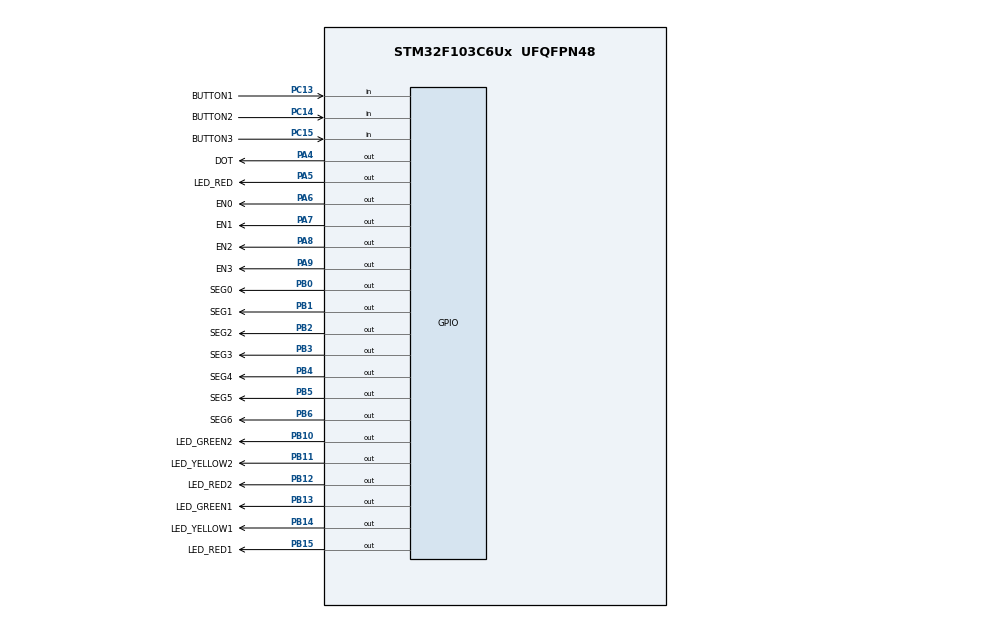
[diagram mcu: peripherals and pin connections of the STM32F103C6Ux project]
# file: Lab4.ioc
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Mcu.Family=STM32F1
Mcu.Name=STM32F103C6Ux
Mcu.Package=UFQFPN48
NVIC.PriorityGroup=NVIC_PRIORITYGROUP_4
NVIC.TIM2_IRQn=true\:0\:0\:false\:false\:true\:true\:true
PA4.GPIO_Label=DOT
PA4.Signal=GPIO_Output
PA5.GPIO_Label=LED_RED
PA5.Signal=GPIO_Output
PA6.GPIO_Label=EN0
PA6.Signal=GPIO_Output
PA7.GPIO_Label=EN1
PA7.Signal=GPIO_Output
PA8.GPIO_Label=EN2
PA8.Signal=GPIO_Output
PA9.GPIO_Label=EN3
PA9.Signal=GPIO_Output
PB0.GPIO_Label=SEG0
PB0.Signal=GPIO_Output
PB1.GPIO_Label=SEG1
PB1.Signal=GPIO_Output
PB10.GPIO_Label=LED_GREEN2
PB10.Signal=GPIO_Output
PB11.GPIO_Label=LED_YELLOW2
PB11.Signal=GPIO_Output
PB12.GPIO_Label=LED_RED2
PB12.Signal=GPIO_Output
PB13.GPIO_Label=LED_GREEN1
PB13.Signal=GPIO_Output
PB14.GPIO_Label=LED_YELLOW1
PB14.Signal=GPIO_Output
PB15.GPIO_Label=LED_RED1
PB15.Signal=GPIO_Output
PB2.GPIO_Label=SEG2
PB2.Signal=GPIO_Output
PB3.GPIO_Label=SEG3
PB3.Signal=GPIO_Output
PB4.GPIO_Label=SEG4
PB4.Signal=GPIO_Output
PB5.GPIO_Label=SEG5
PB5.Signal=GPIO_Output
PB6.GPIO_Label=SEG6
PB6.Signal=GPIO_Output
PC13-TAMPER-RTC.GPIO_Label=BUTTON1
PC13-TAMPER-RTC.GPIO_PuPd=GPIO_PULLUP
PC13-TAMPER-RTC.Signal=GPIO_Input
PC14-OSC32_IN.GPIO_Label=BUTTON2
PC14-OSC32_IN.GPIO_PuPd=GPIO_PULLUP
PC14-OSC32_IN.Signal=GPIO_Input
PC15-OSC32_OUT.GPIO_Label=BUTTON3
PC15-OSC32_OUT.GPIO_PuPd=GPIO_PULLUP
PC15-OSC32_OUT.Signal=GPIO_Input
ProjectManager.HeapSize=0x200
ProjectManager.StackSize=0x400
ProjectManager.TargetToolchain=STM32CubeIDE
RCC.APB1Freq_Value=8000000
RCC.APB2Freq_Value=8000000
TIM2.Period=9
TIM2.Prescaler=7999
VP_SYS_VS_ND.Mode=No_Debug
VP_TIM2_VS_ClockSourceINT.Mode=Internal
board=custom

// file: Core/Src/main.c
/* USER CODE BEGIN Header */
/**
  ******************************************************************************
  * @file           : main.c
  * @brief          : Main program body
  ******************************************************************************
  * @attention
  *
  * <h2><center>&copy; Copyright (c) 2025 STMicroelectronics.
  * All rights reserved.</center></h2>
  *
  * This software component is licensed by ST under BSD 3-Clause license,
  * the "License"; You may not use this file except in compliance with the
  * License. You may obtain a copy of the License at:
  *                        opensource.org/licenses/BSD-3-Clause
  *
  ******************************************************************************
  */
/* USER CODE END Header */
#include "main.h"

TIM_HandleTypeDef htim2;

/* USER CODE BEGIN PV */
TIM_HandleTypeDef htim2;

/* USER CODE END PV */

void SystemClock_Config(void);
static void MX_GPIO_Init(void);
static void MX_TIM2_Init(void);

int main(void)
{

  /* MCU Configuration--------------------------------------------------------*/

  /* Reset of all peripherals, Initializes the Flash interface and the Systick. */
  HAL_Init();

  /* Configure the system clock */
  SystemClock_Config();

  /* Initialize all configured peripherals */
  MX_GPIO_Init();
  MX_TIM2_Init();
  /* USER CODE BEGIN 2 */
  HAL_TIM_Base_Start_IT(&htim2);
  /* USER CODE END 2 */

  /* Infinite loop */
  /* USER CODE BEGIN WHILE */
  SCH_Add_Task(timerRun,          0, 1);
  SCH_Add_Task(getKeyInput,       0, 1);
  SCH_Add_Task(fsm_automatic_run, 0, 1);
  SCH_Add_Task(fsm_manual_run,    0, 1);
  SCH_Add_Task(fsm_config_run,    0, 1);
  while (1)
  {
	  SCH_Dispatch_Tasks();
    /* USER CODE END WHILE */

  }
}

void SystemClock_Config(void)
{
  RCC_OscInitTypeDef RCC_OscInitStruct = {0};
  RCC_ClkInitTypeDef RCC_ClkInitStruct = {0};

  /** Initializes the RCC Oscillators according to the specified parameters
  * in the RCC_OscInitTypeDef structure.
  */
  RCC_OscInitStruct.OscillatorType = RCC_OSCILLATORTYPE_HSI;
  RCC_OscInitStruct.HSIState = RCC_HSI_ON;
  RCC_OscInitStruct.HSICalibrationValue = RCC_HSICALIBRATION_DEFAULT;
  RCC_OscInitStruct.PLL.PLLState = RCC_PLL_NONE;
  if (HAL_RCC_OscConfig(&RCC_OscInitStruct) != HAL_OK)
  {
    Error_Handler();
  }
  /** Initializes the CPU, AHB and APB buses clocks
  */
  RCC_ClkInitStruct.ClockType = RCC_CLOCKTYPE_HCLK|RCC_CLOCKTYPE_SYSCLK
                              |RCC_CLOCKTYPE_PCLK1|RCC_CLOCKTYPE_PCLK2;
  RCC_ClkInitStruct.SYSCLKSource = RCC_SYSCLKSOURCE_HSI;
  RCC_ClkInitStruct.AHBCLKDivider = RCC_SYSCLK_DIV1;
  RCC_ClkInitStruct.APB1CLKDivider = RCC_HCLK_DIV1;
  RCC_ClkInitStruct.APB2CLKDivider = RCC_HCLK_DIV1;

  if (HAL_RCC_ClockConfig(&RCC_ClkInitStruct, FLASH_LATENCY_0) != HAL_OK)
  {
    Error_Handler();
  }
}

static void MX_TIM2_Init(void)
{

  TIM_ClockConfigTypeDef sClockSourceConfig = {0};
  TIM_MasterConfigTypeDef sMasterConfig = {0};

  htim2.Instance = TIM2;
  htim2.Init.Prescaler = 7999;
  htim2.Init.CounterMode = TIM_COUNTERMODE_UP;
  htim2.Init.Period = 9;
  htim2.Init.ClockDivision = TIM_CLOCKDIVISION_DIV1;
  htim2.Init.AutoReloadPreload = TIM_AUTORELOAD_PRELOAD_DISABLE;
  if (HAL_TIM_Base_Init(&htim2) != HAL_OK)
  {
    Error_Handler();
  }
  sClockSourceConfig.ClockSource = TIM_CLOCKSOURCE_INTERNAL;
  if (HAL_TIM_ConfigClockSource(&htim2, &sClockSourceConfig) != HAL_OK)
  {
    Error_Handler();
  }
  sMasterConfig.MasterOutputTrigger = TIM_TRGO_RESET;
  sMasterConfig.MasterSlaveMode = TIM_MASTERSLAVEMODE_DISABLE;
  if (HAL_TIMEx_MasterConfigSynchronization(&htim2, &sMasterConfig) != HAL_OK)
  {
    Error_Handler();
  }

}

static void MX_GPIO_Init(void)
{
  GPIO_InitTypeDef GPIO_InitStruct = {0};

  /* GPIO Ports Clock Enable */
  __HAL_RCC_GPIOC_CLK_ENABLE();
  __HAL_RCC_GPIOA_CLK_ENABLE();
  __HAL_RCC_GPIOB_CLK_ENABLE();

  /*Configure GPIO pin Output Level */
  HAL_GPIO_WritePin(GPIOA, DOT_Pin|LED_RED_Pin|EN0_Pin|EN1_Pin
                          |EN2_Pin|EN3_Pin, GPIO_PIN_RESET);

  /*Configure GPIO pin Output Level */
  HAL_GPIO_WritePin(GPIOB, SEG0_Pin|SEG1_Pin|SEG2_Pin|LED_GREEN2_Pin
                          |LED_YELLOW2_Pin|LED_RED2_Pin|LED_GREEN1_Pin|LED_YELLOW1_Pin
                          |LED_RED1_Pin|SEG3_Pin|SEG4_Pin|SEG5_Pin
                          |SEG6_Pin, GPIO_PIN_RESET);

  /*Configure GPIO pins : BUTTON1_Pin BUTTON2_Pin BUTTON3_Pin */
  GPIO_InitStruct.Pin = BUTTON1_Pin|BUTTON2_Pin|BUTTON3_Pin;
  GPIO_InitStruct.Mode = GPIO_MODE_INPUT;
  GPIO_InitStruct.Pull = GPIO_PULLUP;
  HAL_GPIO_Init(GPIOC, &GPIO_InitStruct);

  /*Configure GPIO pins : DOT_Pin LED_RED_Pin EN0_Pin EN1_Pin
                           EN2_Pin EN3_Pin */
  GPIO_InitStruct.Pin = DOT_Pin|LED_RED_Pin|EN0_Pin|EN1_Pin
                          |EN2_Pin|EN3_Pin;
  GPIO_InitStruct.Mode = GPIO_MODE_OUTPUT_PP;
  GPIO_InitStruct.Pull = GPIO_NOPULL;
  GPIO_InitStruct.Speed = GPIO_SPEED_FREQ_LOW;
  HAL_GPIO_Init(GPIOA, &GPIO_InitStruct);

  /*Configure GPIO pins : SEG0_Pin SEG1_Pin SEG2_Pin LED_GREEN2_Pin
                           LED_YELLOW2_Pin LED_RED2_Pin LED_GREEN1_Pin LED_YELLOW1_Pin
                           LED_RED1_Pin SEG3_Pin SEG4_Pin SEG5_Pin
                           SEG6_Pin */
  GPIO_InitStruct.Pin = SEG0_Pin|SEG1_Pin|SEG2_Pin|LED_GREEN2_Pin
                          |LED_YELLOW2_Pin|LED_RED2_Pin|LED_GREEN1_Pin|LED_YELLOW1_Pin
                          |LED_RED1_Pin|SEG3_Pin|SEG4_Pin|SEG5_Pin
                          |SEG6_Pin;
  GPIO_InitStruct.Mode = GPIO_MODE_OUTPUT_PP;
  GPIO_InitStruct.Pull = GPIO_NOPULL;
  GPIO_InitStruct.Speed = GPIO_SPEED_FREQ_LOW;
  HAL_GPIO_Init(GPIOB, &GPIO_InitStruct);

}

/* USER CODE BEGIN 4 */
void HAL_TIM_PeriodElapsedCallback(TIM_HandleTypeDef* htim)
{
	SCH_Update();
}
void display7SEG(int num) {
    if (num < 0 || num > 9) return;
    uint8_t pattern = seg_table[num];
    HAL_GPIO_WritePin(SEG0_GPIO_Port, SEG0_Pin, pattern & 0x01);
    HAL_GPIO_WritePin(SEG1_GPIO_Port, SEG1_Pin, (pattern >> 1) & 0x01);
    HAL_GPIO_WritePin(SEG2_GPIO_Port, SEG2_Pin, (pattern >> 2) & 0x01);
    HAL_GPIO_WritePin(SEG3_GPIO_Port, SEG3_Pin, (pattern >> 3) & 0x01);
    HAL_GPIO_WritePin(SEG4_GPIO_Port, SEG4_Pin, (pattern >> 4) & 0x01);
    HAL_GPIO_WritePin(SEG5_GPIO_Port, SEG5_Pin, (pattern >> 5) & 0x01);
    HAL_GPIO_WritePin(SEG6_GPIO_Port, SEG6_Pin, (pattern >> 6) & 0x01);
}
void turnOFF7SEG() {
	HAL_GPIO_WritePin(EN0_GPIO_Port, EN0_Pin, GPIO_PIN_RESET); 	 // turn off LED1
	HAL_GPIO_WritePin(EN1_GPIO_Port, EN1_Pin, GPIO_PIN_RESET);   // turn off LED2
	HAL_GPIO_WritePin(EN2_GPIO_Port, EN2_Pin, GPIO_PIN_RESET);   // turn off LED2
	HAL_GPIO_WritePin(EN3_GPIO_Port, EN3_Pin, GPIO_PIN_RESET);   // turn off LED3
}
void update7SEG(int index) {
	switch (index) {
		case 0:
			display7SEG(led_buffer[0]);
			HAL_GPIO_WritePin(EN0_GPIO_Port, EN0_Pin, GPIO_PIN_SET); 	 // turn on LED1
			HAL_GPIO_WritePin(EN1_GPIO_Port, EN1_Pin, GPIO_PIN_RESET);   // turn off LED2
			HAL_GPIO_WritePin(EN2_GPIO_Port, EN2_Pin, GPIO_PIN_RESET);   // turn off LED2
			HAL_GPIO_WritePin(EN3_GPIO_Port, EN3_Pin, GPIO_PIN_RESET);   // turn off LED3
			break;
		case 1:
			display7SEG(led_buffer[1]);
			HAL_GPIO_WritePin(EN0_GPIO_Port, EN0_Pin, GPIO_PIN_RESET);   // turn off LED1
			HAL_GPIO_WritePin(EN1_GPIO_Port, EN1_Pin, GPIO_PIN_SET); 	 // turn on LED2
			HAL_GPIO_WritePin(EN2_GPIO_Port, EN2_Pin, GPIO_PIN_RESET);   // turn off LED3
			HAL_GPIO_WritePin(EN3_GPIO_Port, EN3_Pin, GPIO_PIN_RESET);   // turn off LED4
			break;
		case 2:
			display7SEG(led_buffer[2]);
			HAL_GPIO_WritePin(EN0_GPIO_Port, EN0_Pin, GPIO_PIN_RESET);   // turn off LED1
			HAL_GPIO_WritePin(EN1_GPIO_Port, EN1_Pin, GPIO_PIN_RESET);   // turn off LED2
			HAL_GPIO_WritePin(EN2_GPIO_Port, EN2_Pin, GPIO_PIN_SET); 	 // turn on LED3
			HAL_GPIO_WritePin(EN3_GPIO_Port, EN3_Pin, GPIO_PIN_RESET);   // turn off LED4
			break;
		case 3:
			display7SEG(led_buffer[3]);
			HAL_GPIO_WritePin(EN0_GPIO_Port, EN0_Pin, GPIO_PIN_RESET);   // turn off LED1
			HAL_GPIO_WritePin(EN1_GPIO_Port, EN1_Pin, GPIO_PIN_RESET);   // turn off LED2
			HAL_GPIO_WritePin(EN2_GPIO_Port, EN2_Pin, GPIO_PIN_RESET);   // turn off LED3
			HAL_GPIO_WritePin(EN3_GPIO_Port, EN3_Pin, GPIO_PIN_SET); 	 // turn on LED4
			break;
		default:
			break;
	}
}
void update7SEGBuffer(int counterA, int counterB) {
    led_buffer[0] = counterA / 10;
    led_buffer[1] = counterA % 10;
    led_buffer[2] = counterB / 10;
    led_buffer[3] = counterB % 10;
}

/* USER CODE END 4 */

void Error_Handler(void)
{
  __disable_irq();
  while (1)
  {
  }
}

/************************ (C) COPYRIGHT STMicroelectronics *****END OF FILE****/
